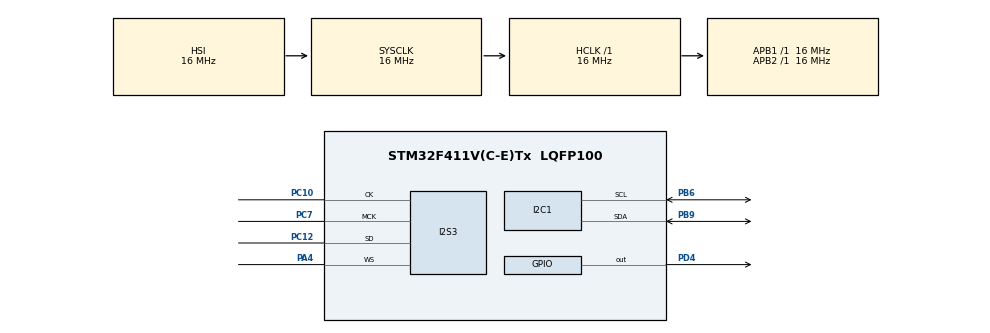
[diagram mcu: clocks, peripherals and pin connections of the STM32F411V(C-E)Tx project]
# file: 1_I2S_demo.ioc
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Mcu.Family=STM32F4
I2S3.FullDuplexMode=I2S_FULLDUPLEXMODE_DISABLE
RCC.CortexFreq_Value=16000000
PC12.Signal=I2S3_SD
PC10.Signal=I2S3_CK
PC10.Mode=Half_Duplex_Master
ProjectManager.StackSize=0x400
ProjectManager.TargetToolchain=STM32CubeIDE
PA4.Mode=Half_Duplex_Master
PD4.Signal=GPIO_Output
PB9.Mode=I2C
PB6.Signal=I2C1_SCL
PC7.Signal=I2S3_MCK
I2S3.VirtualMode=I2S_MODE_MASTER
PB6.Mode=I2C
RCC.LSE_VALUE=32768
RCC.AHBFreq_Value=16000000
RCC.HSE_VALUE=25000000
PC12.Mode=Half_Duplex_Master
board=custom
RCC.VCOOutputFreq_Value=192000000
I2S3.ErrorAudioFreq=-0.27 %
RCC.APB2Freq_Value=16000000
Mcu.Name=STM32F411V(C-E)Tx
PA4.Signal=I2S3_WS
RCC.SYSCLKFreq_VALUE=16000000
Mcu.Package=LQFP100
PB9.Signal=I2C1_SDA
ProjectManager.HeapSize=0x200
RCC.HSI_VALUE=16000000
NVIC.PriorityGroup=NVIC_PRIORITYGROUP_4
I2S3.RealAudioFreq=7.978 KHz
I2S3.Instance=SPI$Index
PC7.Mode=Master_Clock_Activated
RCC.APB1Freq_Value=16000000

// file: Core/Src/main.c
/* USER CODE BEGIN Header */
/**
  ******************************************************************************
  * @file           : main.c
  * @brief          : Main program body
  ******************************************************************************
  * @attention
  *
  * <h2><center>&copy; Copyright (c) 2025 STMicroelectronics.
  * All rights reserved.</center></h2>
  *
  * This software component is licensed by ST under BSD 3-Clause license,
  * the "License"; You may not use this file except in compliance with the
  * License. You may obtain a copy of the License at:
  *                        opensource.org/licenses/BSD-3-Clause
  *
  ******************************************************************************
  */
/* USER CODE END Header */
#include "main.h"

I2C_HandleTypeDef hi2c1;

I2S_HandleTypeDef hi2s3;

void SystemClock_Config(void);
static void MX_GPIO_Init(void);
static void MX_I2C1_Init(void);
static void MX_I2S3_Init(void);

/* USER CODE BEGIN 0 */
#define AUDIO_DEV_ADRR 0x94
void audio_write_reg(uint8_t reg_addr, uint8_t reg_val)
{
	HAL_I2C_Mem_Write(&hi2c1, AUDIO_DEV_ADRR, reg_addr, 1, &reg_val, 1, HAL_MAX_DELAY);
}
uint8_t audio_read_reg(uint8_t reg_addr)
{
	uint8_t reg_val;
	HAL_I2C_Mem_Read(&hi2c1, AUDIO_DEV_ADRR, reg_addr, 1, &reg_val, 1, HAL_MAX_DELAY);
	return reg_val;
}
void audio_init(){
	//reset audio chip
	HAL_Delay(100);
	HAL_GPIO_WritePin(GPIOD, GPIO_PIN_4, GPIO_PIN_RESET); // Kéo xuống mức 0 để reset
	HAL_Delay(100);
	HAL_GPIO_WritePin(GPIOD, GPIO_PIN_4, GPIO_PIN_SET);
	HAL_Delay(100);

	 // uint8_t chip_id = audio_read_reg(0x01) ;
	audio_write_reg(0x02, 0b10011110); // power up audio chip
	audio_write_reg(0x04, 0b10101111); // power up headphone (both channel A,B)
	audio_write_reg(0x06, 0b00000111); // DAC interface as I2C, word length = 16 bit

}
/* USER CODE END 0 */

int main(void)
{

  /* MCU Configuration--------------------------------------------------------*/

  /* Reset of all peripherals, Initializes the Flash interface and the Systick. */
  HAL_Init();

  /* Configure the system clock */
  SystemClock_Config();

  /* Initialize all configured peripherals */
  MX_GPIO_Init();
  MX_I2C1_Init();
  MX_I2S3_Init();
  /* USER CODE BEGIN 2 */
  audio_init();
  uint16_t *audio_data = (uint16_t *)0x08020000 ;
  /* USER CODE END 2 */

  /* Infinite loop */
  /* USER CODE BEGIN WHILE */
  while (1)
  {
	  for (int i = 0; i < 148471; i++){
		  HAL_I2S_Transmit(&hi2s3, &audio_data[i], 1, HAL_MAX_DELAY);
		  HAL_I2S_Transmit(&hi2s3, &audio_data[i], 1, HAL_MAX_DELAY);
	  }
    /* USER CODE END WHILE */

  }
}

void SystemClock_Config(void)
{
  RCC_OscInitTypeDef RCC_OscInitStruct = {0};
  RCC_ClkInitTypeDef RCC_ClkInitStruct = {0};
  RCC_PeriphCLKInitTypeDef PeriphClkInitStruct = {0};

  /** Macro to configure the PLL multiplication factor
  */
  __HAL_RCC_PLL_PLLM_CONFIG(16);
  /** Macro to configure the PLL clock source
  */
  __HAL_RCC_PLL_PLLSOURCE_CONFIG(RCC_PLLSOURCE_HSI);
  /** Configure the main internal regulator output voltage
  */
  __HAL_RCC_PWR_CLK_ENABLE();
  __HAL_PWR_VOLTAGESCALING_CONFIG(PWR_REGULATOR_VOLTAGE_SCALE1);
  /** Initializes the RCC Oscillators according to the specified parameters
  * in the RCC_OscInitTypeDef structure.
  */
  RCC_OscInitStruct.OscillatorType = RCC_OSCILLATORTYPE_HSI;
  RCC_OscInitStruct.HSIState = RCC_HSI_ON;
  RCC_OscInitStruct.HSICalibrationValue = RCC_HSICALIBRATION_DEFAULT;
  RCC_OscInitStruct.PLL.PLLState = RCC_PLL_NONE;
  RCC_OscInitStruct.PLL.PLLSource = RCC_PLLSOURCE_HSI;
  if (HAL_RCC_OscConfig(&RCC_OscInitStruct) != HAL_OK)
  {
    Error_Handler();
  }
  /** Initializes the CPU, AHB and APB buses clocks
  */
  RCC_ClkInitStruct.ClockType = RCC_CLOCKTYPE_HCLK|RCC_CLOCKTYPE_SYSCLK
                              |RCC_CLOCKTYPE_PCLK1|RCC_CLOCKTYPE_PCLK2;
  RCC_ClkInitStruct.SYSCLKSource = RCC_SYSCLKSOURCE_HSI;
  RCC_ClkInitStruct.AHBCLKDivider = RCC_SYSCLK_DIV1;
  RCC_ClkInitStruct.APB1CLKDivider = RCC_HCLK_DIV1;
  RCC_ClkInitStruct.APB2CLKDivider = RCC_HCLK_DIV1;

  if (HAL_RCC_ClockConfig(&RCC_ClkInitStruct, FLASH_LATENCY_0) != HAL_OK)
  {
    Error_Handler();
  }
  PeriphClkInitStruct.PeriphClockSelection = RCC_PERIPHCLK_I2S;
  PeriphClkInitStruct.PLLI2S.PLLI2SN = 192;
  PeriphClkInitStruct.PLLI2S.PLLI2SM = 16;
  PeriphClkInitStruct.PLLI2S.PLLI2SR = 2;
  if (HAL_RCCEx_PeriphCLKConfig(&PeriphClkInitStruct) != HAL_OK)
  {
    Error_Handler();
  }
}

static void MX_I2C1_Init(void)
{

  hi2c1.Instance = I2C1;
  hi2c1.Init.ClockSpeed = 100000;
  hi2c1.Init.DutyCycle = I2C_DUTYCYCLE_2;
  hi2c1.Init.OwnAddress1 = 0;
  hi2c1.Init.AddressingMode = I2C_ADDRESSINGMODE_7BIT;
  hi2c1.Init.DualAddressMode = I2C_DUALADDRESS_DISABLE;
  hi2c1.Init.OwnAddress2 = 0;
  hi2c1.Init.GeneralCallMode = I2C_GENERALCALL_DISABLE;
  hi2c1.Init.NoStretchMode = I2C_NOSTRETCH_DISABLE;
  if (HAL_I2C_Init(&hi2c1) != HAL_OK)
  {
    Error_Handler();
  }

}

static void MX_I2S3_Init(void)
{

  hi2s3.Instance = SPI3;
  hi2s3.Init.Mode = I2S_MODE_MASTER_TX;
  hi2s3.Init.Standard = I2S_STANDARD_PHILIPS;
  hi2s3.Init.DataFormat = I2S_DATAFORMAT_16B;
  hi2s3.Init.MCLKOutput = I2S_MCLKOUTPUT_ENABLE;
  hi2s3.Init.AudioFreq = I2S_AUDIOFREQ_8K;
  hi2s3.Init.CPOL = I2S_CPOL_LOW;
  hi2s3.Init.ClockSource = I2S_CLOCK_PLL;
  hi2s3.Init.FullDuplexMode = I2S_FULLDUPLEXMODE_DISABLE;
  if (HAL_I2S_Init(&hi2s3) != HAL_OK)
  {
    Error_Handler();
  }

}

static void MX_GPIO_Init(void)
{
  GPIO_InitTypeDef GPIO_InitStruct = {0};

  /* GPIO Ports Clock Enable */
  __HAL_RCC_GPIOA_CLK_ENABLE();
  __HAL_RCC_GPIOC_CLK_ENABLE();
  __HAL_RCC_GPIOD_CLK_ENABLE();
  __HAL_RCC_GPIOB_CLK_ENABLE();

  /*Configure GPIO pin Output Level */
  HAL_GPIO_WritePin(GPIOD, GPIO_PIN_4, GPIO_PIN_RESET);

  /*Configure GPIO pin : PD4 */
  GPIO_InitStruct.Pin = GPIO_PIN_4;
  GPIO_InitStruct.Mode = GPIO_MODE_OUTPUT_PP;
  GPIO_InitStruct.Pull = GPIO_NOPULL;
  GPIO_InitStruct.Speed = GPIO_SPEED_FREQ_LOW;
  HAL_GPIO_Init(GPIOD, &GPIO_InitStruct);

}

void Error_Handler(void)
{
  __disable_irq();
  while (1)
  {
  }
}

/************************ (C) COPYRIGHT STMicroelectronics *****END OF FILE****/
